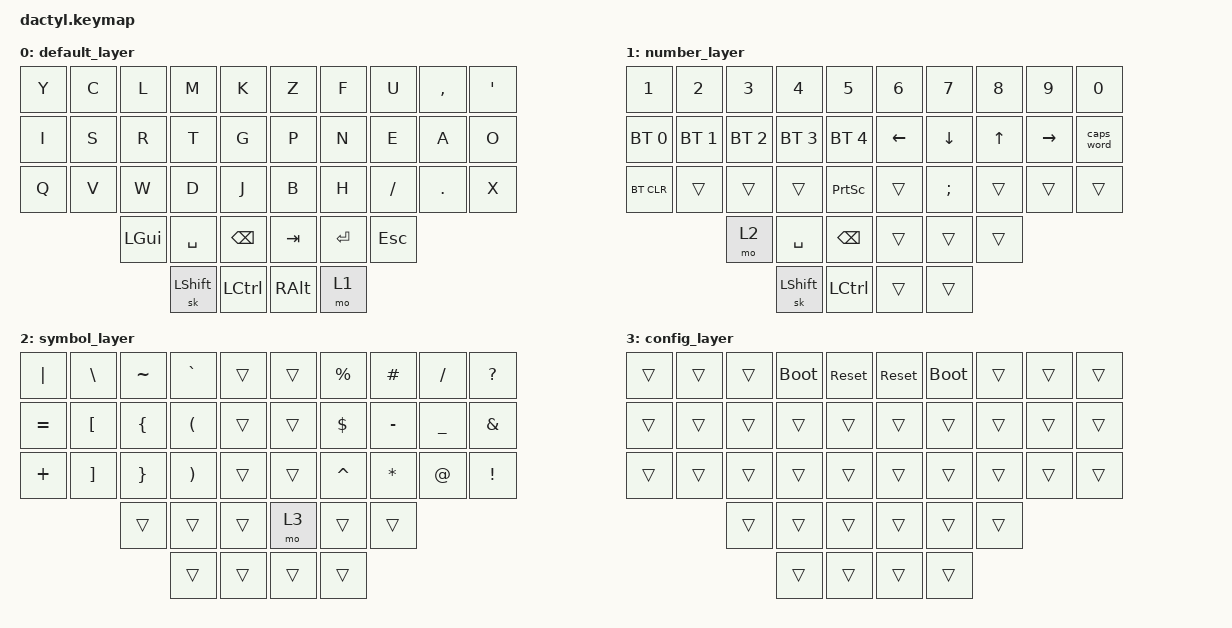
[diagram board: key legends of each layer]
/*
 * Copyright (c) 2020 The ZMK Contributors
 *
 * SPDX-License-Identifier: MIT
 */

#include <behaviors.dtsi>
#include <dt-bindings/zmk/keys.h>
#include <dt-bindings/zmk/bt.h>
#include <dt-bindings/zmk/outputs.h>

/ {
        keymap {
                compatible = "zmk,keymap";

                default_layer {
// ------------------------------------------------------------------
// |  R  |  C  |  L  |  M  |  K   |  ...  |  Z  |  F   |  U  |  ,  |  '  |
// |  I  |  S  |  R  |  I  |  G   |  ...  |  P  |  N   |  E  |  A  |  O  |
// |  Q  |  V  |  W  |  D  |  J   |  ...  |  B  |  H   |  /  |  .  |  X  |
//             | GUI | SPC | BSPC |  ...  | TAB | ENT  | ESC |
//                | SHFT | CTRL |    ...     | ALT | NUM  |
                        bindings = <
   &kp Y &kp C &kp L    &kp M      &kp K       &kp Z       &kp F   &kp U     &kp COMMA  &kp SINGLE_QUOTE   
   &kp I &kp S &kp R    &kp T      &kp G       &kp P       &kp N   &kp E     &kp A      &kp O
   &kp Q &kp V &kp W    &kp D      &kp J       &kp B       &kp H   &kp SLASH &kp DOT    &kp X
               &kp LGUI &kp SPACE  &kp BSPC    &kp TAB     &kp RET &kp ESC
                        &sk LSHIFT &kp LCTRL   &kp RALT    &mo 1 
                        >;
                };
                number_layer {
// ------------------------------------------------------------------
// |   1    |   2   |   3    |   4   |   5    |  ...  |   6   |   7   |  8   |   9   |   0     |
// |  BT1   |  BT2  |  BT3   |  BT4  |  BT5   |  ...  |  LFT  |  DWN  |  UP  |  RGT  |  CAPSW  |
// |  BTCL  |       |        |       |  PSCR  |  ...  |       |   ;   |      |       |         |
//                  |  SYMB  |  SPC  |  BSPC  |  ...  |       |       |      |
//                       | SHFT | CTRL |       ...      |       |      |
                        bindings = <
   &kp N1       &kp N2       &kp N3       &kp N4       &kp N5          &kp N6    &kp N7   &kp N8 &kp N9    &kp N0
   &bt BT_SEL 0 &bt BT_SEL 1 &bt BT_SEL 2 &bt BT_SEL 3 &bt BT_SEL 4    &kp LEFT  &kp DOWN &kp UP &kp RIGHT &caps_word
   &bt BT_CLR   &trans       &trans       &trans       &kp PSCRN       &trans    &kp SEMI &trans &trans    &trans
                             &mo 2        &kp SPACE    &kp BSPC        &trans    &trans   &trans
                                          &sk LSHIFT   &kp LCTRL       &trans    &trans 
                        >;
                };
                symbol_layer {
// ------------------------------------------------------------------
// |  "|"  |  \  |  ~  |  `  |     |  ...  |     |  %   |  #  |  /  |  ?  |
// |   A   |  S  |  D  |  F  |     |  ...  |     |  $   |  -  |  _  |  &  |
// |   Z   |  X  |  C  |  V  |     |  ...  |     |  ^   |  *  |  @  |  !  |
//               |     |     |     |  ...  |     |      |     |
//                  |     |     |     ...     |     |      |
                        bindings = <
   &kp PIPE  &kp BSLH  &kp TILDE &kp GRAVE &trans         &trans &kp PRCNT &kp HASH  &kp SLASH &kp QMARK
   &kp EQUAL &kp LBKT  &kp LBRC  &kp LPAR  &trans         &trans &kp DLLR  &kp MINUS &kp UNDER &kp AMPS
   &kp PLUS  &kp RBKT  &kp RBRC  &kp RPAR  &trans         &trans &kp CARET &kp ASTRK &kp AT    &kp EXCL
                       &trans    &trans    &trans         &mo 3  &trans    &trans
                                 &trans    &trans         &trans &trans
                        >;
                };
                config_layer {
// ------------------------------------------------------------------
// |  "|"  |  \  |  ~  |  `  |     |  ...  |     |  %   |  #  |  /  |  ?  |
// |   A   |  S  |  D  |  F  |     |  ...  |     |  $   |  -  |  _  |  &  |
// |   Z   |  X  |  C  |  V  |     |  ...  |     |  ^   |  *  |  @  |  !  |
//               |     |     |     |  ...  |     |      |     |
//                  |     |     |     ...     |  RST  |  BOOT  |
                        bindings = <
   &trans &trans &trans &bootloader &sys_reset       &sys_reset &bootloader &trans &trans &trans 
   &trans &trans &trans &trans      &trans       &trans &trans      &trans &trans &trans 
   &trans &trans &trans &trans      &trans       &trans &trans      &trans &trans &trans 
                 &trans &trans      &trans       &trans &trans      &trans
                        &trans      &trans       &trans &trans 
                        >;
                };
        };
};
